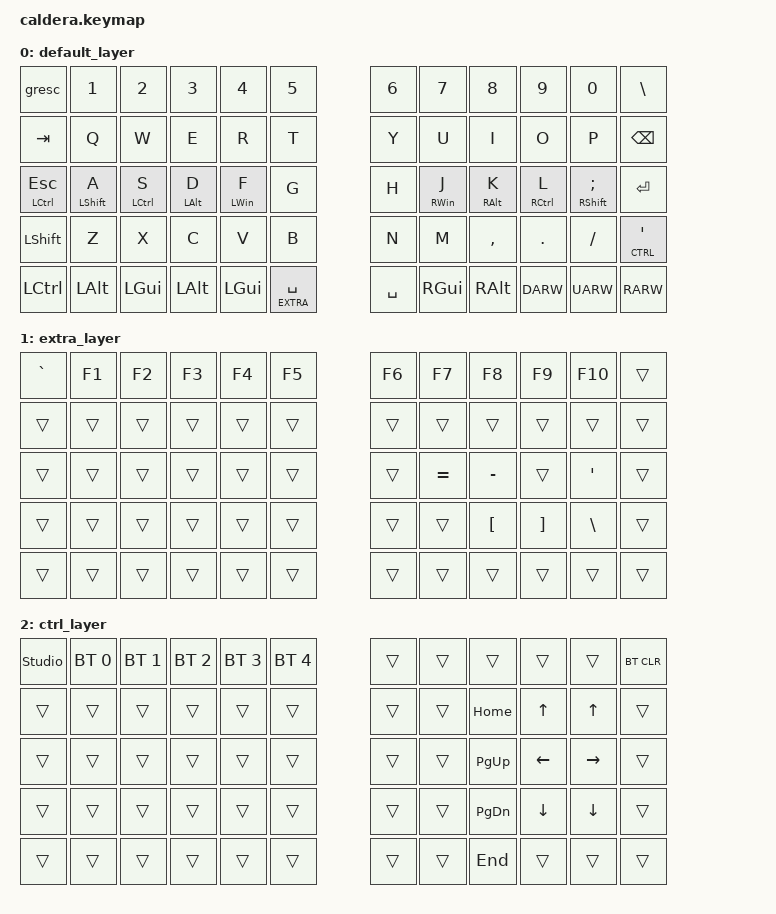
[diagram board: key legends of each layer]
#include <behaviors.dtsi>
#include <dt-bindings/zmk/keys.h>
#include <dt-bindings/zmk/bt.h>

#define A_SHFT &hm LSHIFT A
#define S_CTRL &hm LCTRL S
#define D_LALT &hm LALT D
#define F_LGUI &hm LWIN F
#define J_RGUI &hm RWIN J
#define K_RALT &hm RALT K
#define L_CTRL &hm RCTRL L
#define S_SHFT &hm RSHIFT SEMI

#define UNLOCK &studio_unlock
#define BT1 BT_SEL 1
#define BT2 BT_SEL 2
#define BT3 BT_SEL 3
#define BTX BT_CLR

#define DEFAULT 0
#define EXTRA   1
#define CTRL    2

/ {
        behaviors {
            hm: homerow_mods {
              compatible = "zmk,behavior-hold-tap";
              label = "homerow mods";
              #binding-cells = <2>;
              tapping_term_ms = <200>;
              flavor = "balanced";
              bindings = <&kp>, <&kp>;
            };
        };
        keymap {
                compatible = "zmk,keymap";

                default_layer {
// ---------------------------------------------------------------------------------
// | Esc` |  1  |  2  |  3  |  4  |  5  |     |  6  |  7  |  8  |  9  |  0  | BKSP |
// | TAB  |  Q  |  W  |  E  |  R  |  T  |     |  Y  |  U  |  I  |  O  |  P  |  \   |
// | CTRL |  A  |  S  |  D  |  F  |  G  |     |  H  |  J  |  K  |  L  |  ;  |  ENT |
// | SHFT |  Z  |  X  |  C  |  V  |  B  |     |  N  |  M  |  ,  |  .  |  /  | APOS |
// | CTRL | ALT | GUI | SPC | SPC | SPC |     | SPC | LOW |LARW |DARW |UARW | RARW |
                        bindings = <
   &gresc        &kp N1    &kp N2    &kp N3     &kp N4     &kp N5               &kp N6     &kp N7    &kp N8     &kp N9    &kp N0    &kp BSLH
   &kp TAB       &kp Q     &kp W     &kp E      &kp R      &kp T                &kp Y      &kp U     &kp I      &kp O     &kp P     &kp BSPC
   &mt LCTRL ESC A_SHFT    S_CTRL    D_LALT     F_LGUI     &kp G                &kp H      J_RGUI    K_RALT     L_CTRL    S_SHFT    &kp RET
   &kp LSHFT     &kp Z     &kp X     &kp C      &kp V      &kp B                &kp N      &kp M     &kp COMMA  &kp DOT   &kp FSLH  &lt CTRL APOS
   &kp LCTRL     &kp LALT  &kp LGUI  &kp LALT   &kp LGUI   &lt EXTRA SPACE      &kp SPACE  &kp RGUI  &kp RALT   &kp DARW  &kp UARW  &kp RARW
                        >;
                };

                extra_layer {
// ------------------------------------------------------------------------------------------------------------
// |  `    |   F1  |   F2  |   F3  |   F4  |   F5  |          |  F6   |  F7   |  F8   |  F9   |  F10  |       |
// |       |       |       |       |       |       |          |       |       |       |       |       |       |
// |       |       |       |       |       |       |          |       |       |       |       |       |       |
// |       |       |       |       |       |       |          |       |       |       |       |       |       |
// |       |       |       |       |       |       |          |       |       |       |       |       |       |
                        bindings = <
   &kp GRAVE &kp F1  &kp F2  &kp F3  &kp F4   &kp F5           &kp F6    &kp F7     &kp F8     &kp F9    &kp F10   &trans
   &trans    &trans  &trans  &trans  &trans   &trans           &trans    &trans     &trans     &trans    &trans    &trans
   &trans    &trans  &trans  &trans  &trans   &trans           &trans    &kp EQUAL  &kp MINUS  &trans    &kp APOS  &trans
   &trans    &trans  &trans  &trans  &trans   &trans           &trans    &trans     &kp LBKT   &kp RBKT  &kp BSLH  &trans
   &trans    &trans  &trans  &trans  &trans   &trans           &trans    &trans     &trans     &trans    &trans    &trans
                        >;
                };

                ctrl_layer {
// ------------------------------------------------------------------------------------------------------------
// |       |  BT1  |  BT2  |  BT3  |  BT4  |  BT5  |          |       |       |       |       |       | BTCLR |
// |       |       |       |       |       |       |          |       |       |  PGUP | UP    | UP    |       |
// |       |       |       |       |       |       |          |       |       |  PGDN | lEFT  | RIGHT |       |
// |       |       |       |       |       |       |          |       |       |       | DOWN  | DOWN  |       |
// |       |       |       |       |       |       |          |       |       |       |       |       |       |
                        bindings = <
   UNLOCK    &bt BT_SEL 0   &bt BT_SEL 1   &bt BT_SEL 2   &bt BT_SEL 3   &bt BT_SEL 4        &trans    &trans  &trans    &trans     &trans     &bt BT_CLR
   &trans    &trans         &trans         &trans         &trans         &trans              &trans    &trans  &kp HOME  &kp UP     &kp UP     &trans
   &trans    &trans         &trans         &trans         &trans         &trans              &trans    &trans  &kp PG_UP &kp LEFT   &kp RIGHT  &trans
   &trans    &trans         &trans         &trans         &trans         &trans              &trans    &trans  &kp PG_DN &kp DOWN   &kp DOWN   &trans
   &trans    &trans         &trans         &trans         &trans         &trans              &trans    &trans  &kp END   &trans     &trans     &trans
                        >;
                };
        };
};
